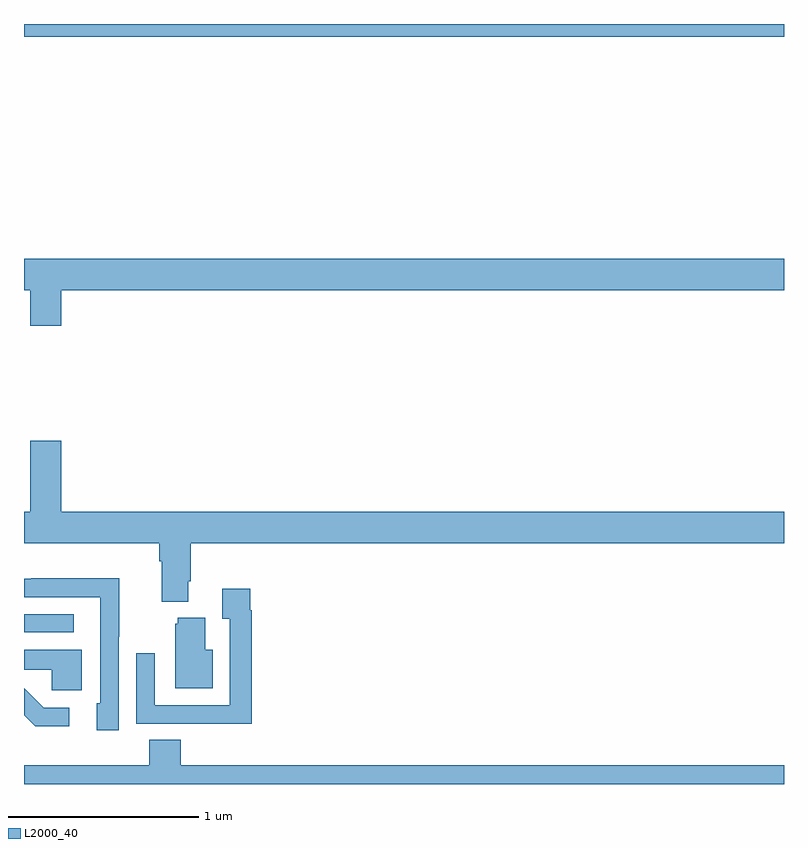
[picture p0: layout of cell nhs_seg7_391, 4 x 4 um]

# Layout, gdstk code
import gdstk
lib = gdstk.Library(unit=1e-6, precision=1e-09)
def R(c, l, rs):  # rectangles x0, y0, x1, y1
    for r in rs: c.add(gdstk.rectangle(r[:2], r[2:], *l))
def P(c, l, *ps):  # polygons
    for p in ps: c.add(gdstk.Polygon(p, *l))
L2000_40 = (2000, 40)

nhs_seg7_391 = lib.new_cell('nhs_seg7_391')
R(nhs_seg7_391, L2000_40, [(141,1014.798,141.262,1014.894), (141,1017.932,145,1018)])
P(nhs_seg7_391, L2000_40, [(141.196,1016.6),(145,1016.6),(145,1016.764),(141,1016.764),(141,1016.6),(141.032,1016.6),(141.032,1016.412),(141.196,1016.412)],
  [(141.865,1015.066),(141.878,1015.066),(141.878,1015.268),(145,1015.268),(145,1015.432),(141.196,1015.432),(141.196,1015.807),(141.032,1015.807),(141.032,1015.432),(141,1015.432),(141,1015.268),(141.713,1015.268),(141.713,1015.172),(141.725,1015.172),(141.725,1014.959),(141.865,1014.959)],
  [(141.498,1014.775),(141.501,1014.775),(141.501,1015.082),(141.037,1015.082),(141.037,1015.08),(141,1015.08),(141,1014.984),(141.401,1014.984),(141.401,1014.73),(141.402,1014.73),(141.402,1014.426),(141.383,1014.426),(141.383,1014.282),(141.498,1014.282)],
  [(142.199,1014.914),(142.192,1014.914),(142.192,1015.027),(142.043,1015.027),(142.043,1014.871),(142.083,1014.871),(142.083,1014.414),(141.687,1014.414),(141.687,1014.688),(141.591,1014.688),(141.591,1014.318),(141.907,1014.318),(141.907,1014.317),(142.199,1014.317)],
  [(141.994,1014.706),(141.955,1014.706),(141.955,1014.874),(141.809,1014.874),(141.809,1014.843),(141.797,1014.843),(141.797,1014.503),(141.994,1014.503)],
  [(141.304,1014.706),(141,1014.706),(141,1014.602),(141.147,1014.602),(141.147,1014.494),(141.304,1014.494)],
  [(141.238,1014.402),(141.103,1014.402),(141,1014.505),(141,1014.363),(141.059,1014.305),(141.238,1014.305)],
  [(141.824,1014.233),(141.659,1014.233),(141.659,1014.1),(141,1014.1),(141,1014),(145,1014),(145,1014.1),(141.824,1014.1)])

lib.write_gds('nhs_seg7_391.gds')
